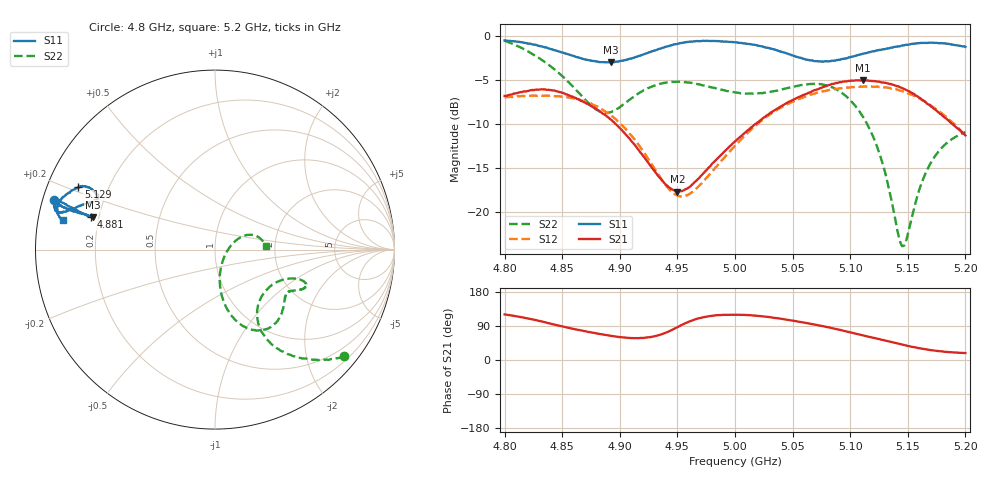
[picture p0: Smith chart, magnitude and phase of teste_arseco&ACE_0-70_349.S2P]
! Network Analyzer HP8722D
! Hewlett-Packard
! Data name: Linha & Wilkinson
! Saver's name: Rodrigo Anjos
! Comments: Teste da utilização de aquisição
! continua pelo VNA HP8722D
! Time and date: 8/5/2025 15:40
!  Frequency  S11  S21  S12  S22
# HZ  S  MA R 50
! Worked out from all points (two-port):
!   401 points, 4.8 GHz to 5.2 GHz, reference 50 ohm
!   highest |S21| = -5.08 dB at 5.111 GHz (marker M1); lowest = -17.7 dB at 4.95 GHz (marker M2)
!   |S21| within 3 dB of the highest: start of sweep to 4.876 GHz; 5.039 GHz to 5.171 GHz (131.1 MHz wide, 2.57 % of centre)
!   lowest |S11| = -3.0 dB at 4.892 GHz (marker M3), VSWR 5.77, Z = 8.8 + j6.31 ohm
!   |S11| at or under -10 dB: nowhere
!   |S22| runs from -23.9 to -0.6 dB; largest |S21 - S12| = 0.73
!   S11 on the Smith chart (normalised r, x): 4.8 GHz: 0.03, +0.15; 4.881 GHz: 0.17, +0.13; 5.129 GHz: 0.09, +0.22; 5.2 GHz: 0.07, +0.09
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4.8e9  0.9382 163.0  0.4546 120.3  0.4461 15.4  0.9333 -39.6
4.833e9  0.8654 164.4  0.495 101.2  0.4559 4.8  0.7223 -54.3
4.867e9  0.7408 164.9  0.4245 77.5  0.4279 -10.0  0.4541 -58.6
4.881e9  0.7123 165.2  0.3777 69.6  0.3943 -18.1  0.3753 -48.0
4.892e9  0.7047 165.2  0.3346 64.0  0.3526 -24.6  0.3677 -34.8
4.91e9  0.74 165.0  0.2522 58.0  0.2712 -32.8  0.4396 -21.7
4.934e9  0.8404 163.6  0.1576 65.6  0.161 -29.4  0.5302 -19.9
4.95e9  0.8984 162.8  0.1302 86.4  0.1234 -8.1  0.5475 -21.9
4.965e9  0.9287 162.9  0.1476 106.8  0.1329 15.7  0.534 -24.4
5e9  0.9165 166.1  0.2506 119.5  0.2372 37.5  0.4753 -29.2
5.036e9  0.8268 164.0  0.3831 110.5  0.377 31.3  0.4866 -37.5
5.067e9  0.7224 157.6  0.4833 94.9  0.4649 17.2  0.5309 -51.7
5.09e9  0.7294 154.9  0.5413 80.2  0.5 4.0  0.487 -66.0
5.111e9  0.7892 153.9  0.5573 65.0  0.5131 -8.8  0.3463 -77.9
5.129e9  0.8372 155.5  0.5414 52.3  0.5081 -20.4  0.1799 -81.6
5.134e9  0.8476 156.3  0.531 48.8  0.5048 -23.9  0.1324 -77.5
5.142e9  0.868 158.2  0.5148 43.2  0.4907 -29.2  0.07303 -52.2
5.146e9  0.8802 159.3  0.4999 40.2  0.4812 -31.7  0.06388 -23.9
5.16e9  0.9061 162.4  0.4438 31.1  0.4399 -40.1  0.1337 24.1
5.169e9  0.9111 164.3  0.4022 26.6  0.4061 -44.8  0.1844 25.1
5.182e9  0.9028 166.9  0.3428 21.9  0.3502 -50.0  0.2395 18.8
5.2e9  0.8632 169.2  0.2712 18.3  0.2712 -54.2  0.2829 4.2
